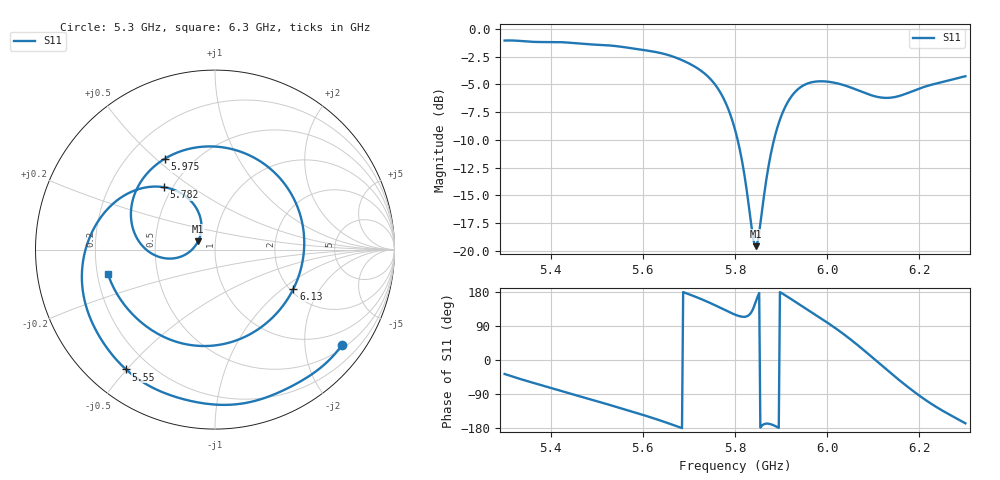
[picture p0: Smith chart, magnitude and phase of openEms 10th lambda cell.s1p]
! Created with skrf 1.8.0 (http://scikit-rf.org).
# Hz S RI R 50.0
!freq ReS11 ImS11
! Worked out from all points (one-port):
!   401 points, 5.3 GHz to 6.3 GHz, reference 50 ohm
!   lowest |S11| = -19.6 dB at 5.845 GHz (marker M1), VSWR 1.23, Z = 41.2 + j3.89 ohm
!   |S11| at or under -10 dB: 5.806 GHz to 5.885 GHz (78.92 MHz wide, 1.35 % of centre)
!   S11 on the Smith chart (normalised r, x): 5.3 GHz: 0.59, -2.89; 5.55 GHz: 0.12, -0.50; 5.782 GHz: 0.45, +0.39; 5.975 GHz: 0.35, +0.53; 6.13 GHz: 2.09, -1.20; 6.3 GHz: 0.24, -0.11
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5.3e9  0.7074 -0.5316
5.3575e9  0.4549 -0.7464
5.425e9  0.1146 -0.8622
5.49e9  -0.2212 -0.8202
5.55e9  -0.4954 -0.6677
5.62e9  -0.7016 -0.3654
5.675e9  -0.7344 -0.0598
5.73e9  -0.5964 0.2283
5.76e9  -0.4362 0.3335
5.7825e9  -0.2856 0.3479
5.8e9  -0.1748 0.3053
5.8225e9  -0.0848 0.1881
5.8375e9  -0.0787 0.092
5.845e9  -0.0941 0.0467
5.865e9  -0.1864 -0.0379
5.8825e9  -0.3 -0.0441
5.925e9  -0.4683 0.1863
5.9475e9  -0.4283 0.3524
5.975e9  -0.2801 0.5061
6.0125e9  0.0139 0.5731
6.05e9  0.3122 0.4468
6.09e9  0.489 0.1322
6.13e9  0.4373 -0.2176
6.175e9  0.1666 -0.486
6.2e9  -0.037 -0.5367
6.2275e9  -0.2526 -0.5004
6.265e9  -0.4724 -0.3464
6.3e9  -0.5958 -0.1365
